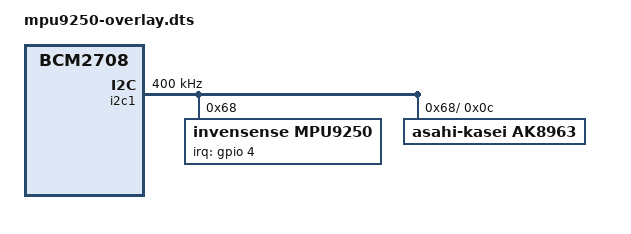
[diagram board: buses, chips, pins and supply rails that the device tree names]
// Definitions for MPU9250
// Combination of:
// https://github.com/raspberrypi/linux/blob/rpi-4.9.y/arch/arm/boot/dts/overlays/mpu6050-overlay.dts
// and https://github.com/torvalds/linux/blob/master/Documentation/devicetree/bindings/iio/imu/inv_mpu6050.txt

// Driver codes:
// https://github.com/torvalds/linux/blob/master/drivers/iio/imu/inv_mpu6050/
// and
// https://github.com/torvalds/linux/tree/master/drivers/iio/magnetometer

/dts-v1/;
/plugin/;

/ {
	compatible = "brcm,bcm2708";

	fragment@0 {
		target = <&i2c1>;
		__overlay__ {
			#address-cells = <1>;
			#size-cells = <0>;
			status = "okay";
			clock-frequency = <400000>;

			mpu9250: mpu9250@68 {
				compatible = "invensense,mpu9250";
				reg = <0x68>;
				interrupt-parent = <&gpio>;
				interrupts = <4 1>;
				mount-matrix = "1",  /* x0 */
				"0",  /* y0 */
				"0",  /* z0 */
				"0",  /* x1 */
				"1",  /* y1 */
				"0",  /* z1 */
				"0",  /* x2 */
				"0",  /* y2 */
				"1";  /* z2 */

				i2c-gate {
					#address-cells = <1>;
					#size-cells = <0>;
					ak8963@c {
						compatible = "asahi-kasei,ak8963";
						reg = <0x0c>;
					};
				};
			};
		};
	};

	__overrides__ {
		interrupt = <&mpu9250>,"interrupts:0";
		addr = <&mpu9250>,"reg:0";
	};
};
